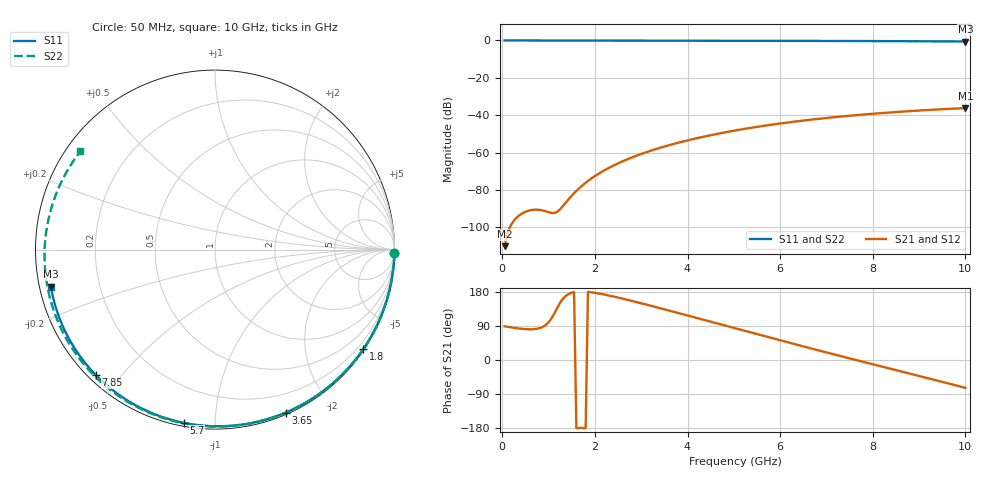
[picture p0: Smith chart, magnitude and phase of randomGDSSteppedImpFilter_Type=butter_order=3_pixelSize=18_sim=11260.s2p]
! freq	dB(S11)	phase(S11)	dB(S12)	phase(S12)
!  dB(S21)	phase(S21)	dB(S22)	phase(S22)
!S-par simulation data
#  GHz  S  DB  R 50
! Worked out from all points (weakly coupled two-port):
!   200 points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, 50 MHz to 10 GHz, reference 50 ohm
!   highest |S21| = -36.22 dB at 10 GHz (marker M1); lowest = -110.1 dB at 50 MHz (marker M2)
!   lowest |S11| = -0.6 dB at 10 GHz (marker M3), VSWR 30.90, Z = 1.64 - j5.56 ohm
!   |S11| at or under -10 dB: nowhere
!   |S22| runs from -0.6 to 0.0 dB; largest |S21 - S12| = 0
!   S11 on the Smith chart (normalised r, x): 50 MHz: open; 1.8 GHz: 0.03, -3.29; 3.65 GHz: 0.02, -1.52; 5.7 GHz: 0.02, -0.84; 7.85 GHz: 0.02, -0.43; 10 GHz: 0.03, -0.11
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0.05  -0.00 -1.0  -110.06 89.0  -110.06 89.0  -0.00 -1.2
0.8  -0.02 -15.2  -90.65 83.9  -90.65 83.9  -0.02 -18.8
1.6  -0.04 -30.1  -80.46 -179.9  -80.46 -179.9  -0.05 -37.2
1.65  -0.04 -31.0  -79.29 -179.4  -79.29 -179.4  -0.05 -38.4
1.75  -0.04 -32.8  -77.12 -179.3  -77.12 -179.3  -0.05 -40.6
1.8  -0.04 -33.8  -76.12 -179.7  -76.12 -179.7  -0.05 -41.8
2.1  -0.05 -39.2  -71.00 175.2  -71.00 175.2  -0.06 -48.5
2.5  -0.06 -46.5  -65.76 164.8  -65.76 164.8  -0.07 -57.3
2.9  -0.07 -53.6  -61.63 152.8  -61.63 152.8  -0.09 -66.0
3.4  -0.08 -62.3  -57.47 137.0  -57.47 137.0  -0.10 -76.7
3.65  -0.09 -66.6  -55.70 128.9  -55.70 128.9  -0.11 -81.9
4.35  -0.11 -78.4  -51.47 105.9  -51.47 105.9  -0.14 -96.2
5.05  -0.14 -89.9  -48.08 82.9  -48.08 82.9  -0.17 -110.3
5.7  -0.17 -100.2  -45.47 61.7  -45.47 61.7  -0.21 -123.1
6.7  -0.23 -115.8  -42.28 29.4  -42.28 29.4  -0.28 -142.7
7.3  -0.27 -125.0  -40.74 10.5  -40.74 10.5  -0.33 -154.7
7.85  -0.32 -133.5  -39.53 -6.6  -39.53 -6.6  -0.38 -166.0
8.35  -0.36 -141.1  -38.57 -22.1  -38.57 -22.1  -0.44 -176.7
8.8  -0.41 -148.1  -37.80 -35.9  -37.80 -35.9  -0.49 173.3
9.2  -0.46 -154.4  -37.19 -48.3  -37.19 -48.3  -0.54 164.0
9.6  -0.51 -160.8  -36.66 -60.8  -36.66 -60.8  -0.59 154.2
10  -0.56 -167.3  -36.22 -73.5  -36.22 -73.5  -0.64 143.9
